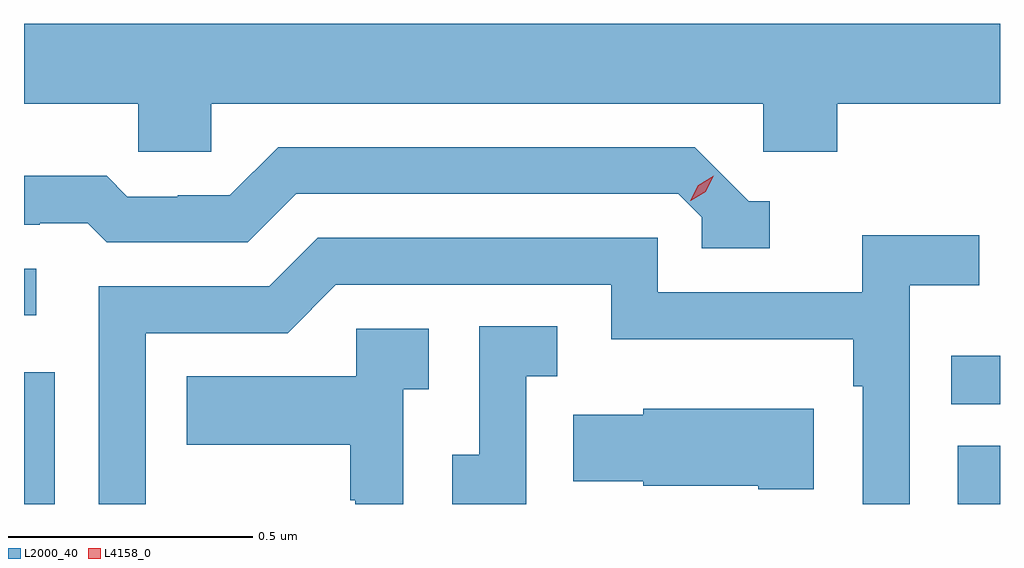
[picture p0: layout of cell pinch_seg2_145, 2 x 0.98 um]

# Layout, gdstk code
import gdstk
lib = gdstk.Library(unit=1e-6, precision=1e-09)
def R(c, l, rs):  # rectangles x0, y0, x1, y1
    for r in rs: c.add(gdstk.rectangle(r[:2], r[2:], *l))
def P(c, l, *ps):  # polygons
    for p in ps: c.add(gdstk.Polygon(p, *l))
L2000_40 = (2000, 40)
L4158_0 = (4158, 0)

pinch_seg2_145 = lib.new_cell('pinch_seg2_145')
R(pinch_seg2_145, L2000_40, [(1116.477,644.151,1116.54,644.422), (1118.39,644.151,1118.477,644.271), (1118.377,644.356,1118.477,644.455), (1116.477,644.538,1116.502,644.634)])
P(pinch_seg2_145, L2000_40, [(1116.861,644.972),(1117.992,644.972),(1117.992,644.874),(1118.144,644.874),(1118.144,644.972),(1118.477,644.972),(1118.477,645.136),(1116.477,645.136),(1116.477,644.972),(1116.711,644.972),(1116.711,644.874),(1116.861,644.874)],
  [(1118.005,644.772),(1117.962,644.772),(1117.851,644.883),(1116.998,644.883),(1116.899,644.784),(1116.792,644.784),(1116.792,644.781),(1116.689,644.781),(1116.647,644.824),(1116.477,644.824),(1116.477,644.724),(1116.509,644.724),(1116.509,644.727),(1116.608,644.727),(1116.647,644.688),(1116.936,644.688),(1117.035,644.787),(1117.818,644.787),(1117.866,644.739),(1117.866,644.676),(1118.005,644.676)],
  [(1116.726,644.502),(1117.017,644.502),(1117.116,644.601),(1117.68,644.601),(1117.68,644.489),(1118.176,644.489),(1118.176,644.393),(1118.196,644.393),(1118.196,644.151),(1118.292,644.151),(1118.292,644.6),(1118.434,644.6),(1118.434,644.702),(1118.195,644.702),(1118.195,644.586),(1117.776,644.586),(1117.776,644.697),(1117.079,644.697),(1116.98,644.598),(1116.63,644.598),(1116.63,644.151),(1116.726,644.151)],
  [(1117.506,644.413),(1117.57,644.413),(1117.57,644.516),(1117.41,644.516),(1117.41,644.253),(1117.355,644.253),(1117.355,644.151),(1117.506,644.151)],
  [(1117.254,644.387),(1117.306,644.387),(1117.306,644.511),(1117.158,644.511),(1117.158,644.413),(1116.811,644.413),(1116.811,644.273),(1117.146,644.273),(1117.146,644.159),(1117.156,644.159),(1117.156,644.151),(1117.254,644.151)],
  [(1118.095,644.347),(1117.746,644.347),(1117.746,644.335),(1117.603,644.335),(1117.603,644.198),(1117.746,644.198),(1117.746,644.189),(1117.982,644.189),(1117.982,644.182),(1118.095,644.182)])
P(pinch_seg2_145, L4158_0, [(1117.842,644.773),(1117.842,644.773),(1117.859,644.805),(1117.89,644.824),(1117.89,644.824),(1117.89,644.824),(1117.874,644.792),(1117.843,644.773)])

lib.write_gds('pinch_seg2_145.gds')
